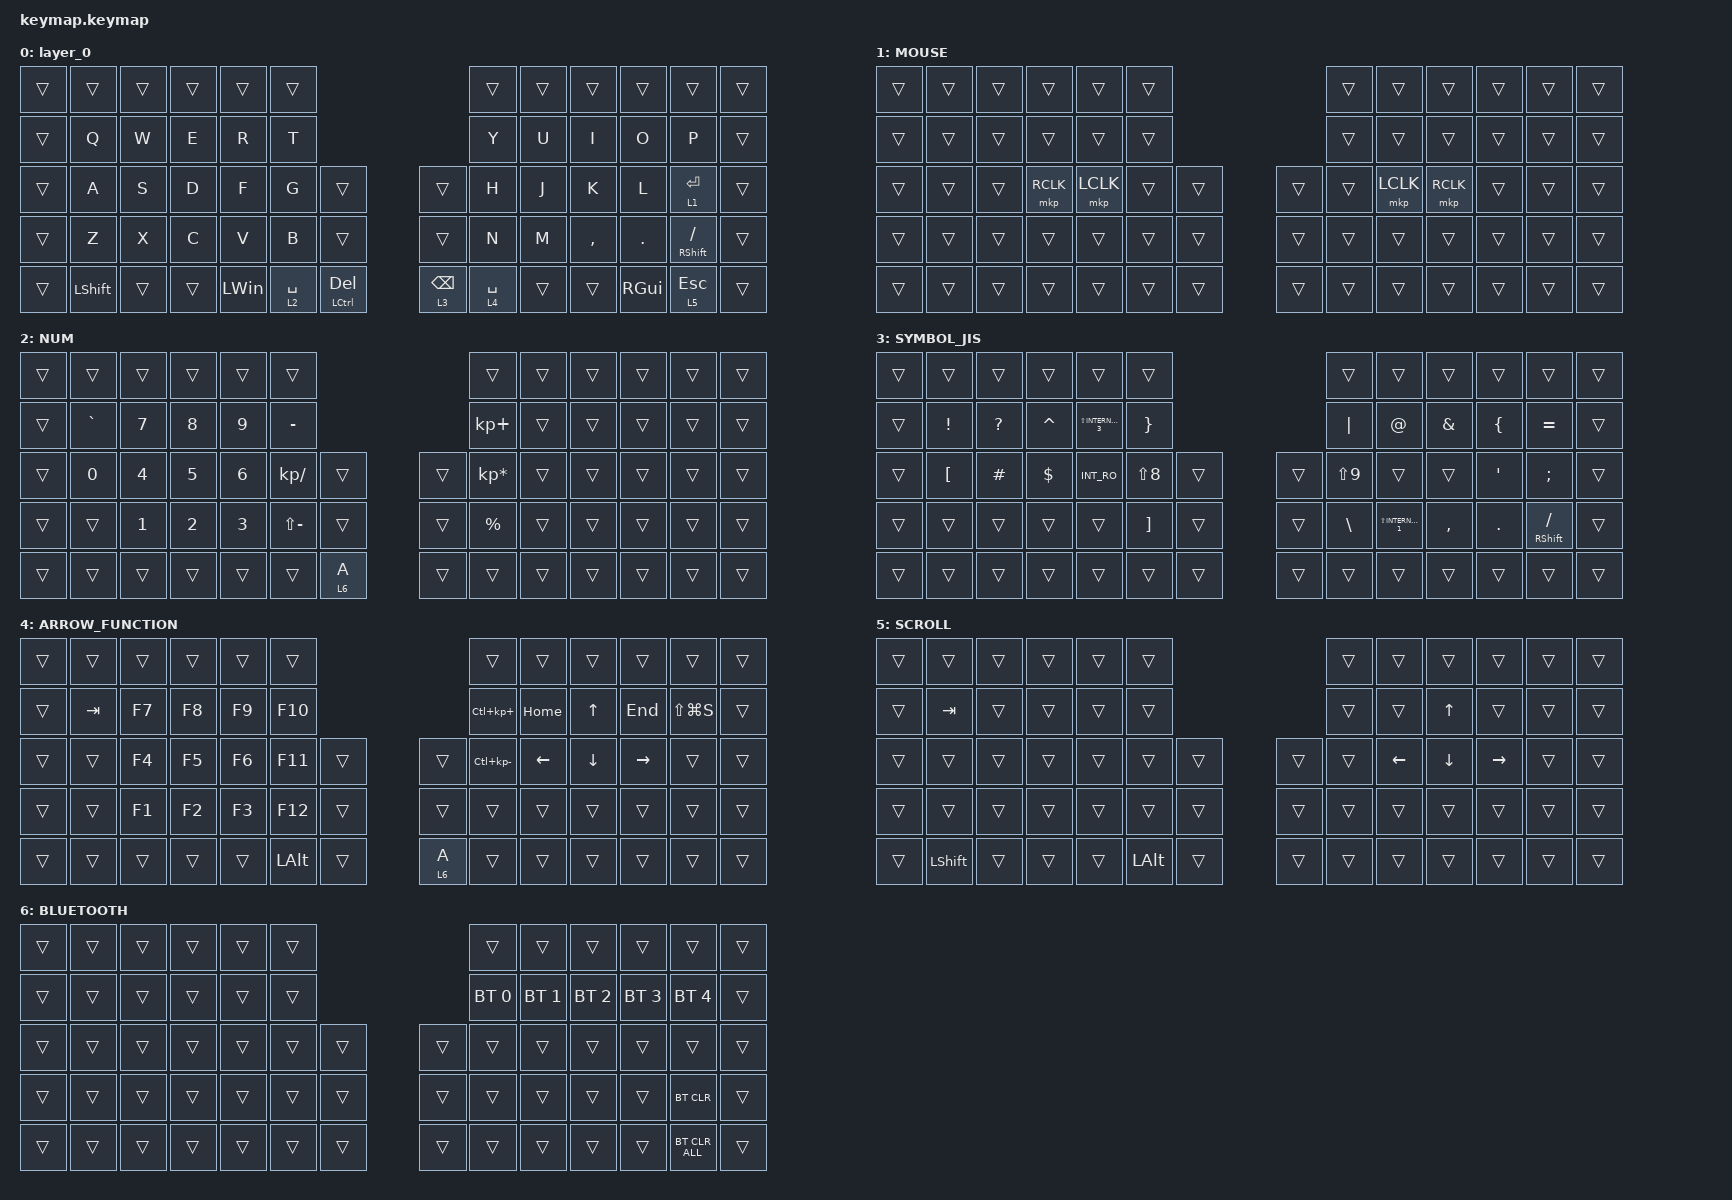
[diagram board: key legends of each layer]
#include <dt-bindings/zmk/input_transform.h>  /* ← これを忘れずに追加！ */
#include <input/processors.dtsi>
#include <zephyr/dt-bindings/input/input-event-codes.h>
#include <behaviors.dtsi>
#include <dt-bindings/zmk/bt.h>
#include <dt-bindings/zmk/keys.h>
#include <dt-bindings/zmk/pointing.h>

&mt {
    quick-tap-ms = <300>;
    flavor = "balanced";
};

&lt { quick-tap-ms = <300>; };

/ {
    combos { compatible = "zmk,combos"; };

    behaviors {
        scroll_up_down: scroll_up_down {
            compatible = "zmk,behavior-sensor-rotate";
            label = "SCROLL_UP_DOWN";
            #sensor-binding-cells = <0>;
            bindings = <&msc SCRL_DOWN>, <&msc SCRL_UP>;

            tap-ms = <20>;
        };
    };

    keymap {
        compatible = "zmk,keymap";

        layer_0 {
            bindings = <
&trans  &trans          &trans  &trans  &trans        &trans                                                 &trans       &trans  &trans     &trans    &trans                &trans
&trans  &kp Q           &kp W   &kp E   &kp R         &kp T                                                  &kp Y        &kp U   &kp I      &kp O     &kp P                 &trans
&trans  &kp A           &kp S   &kp D   &kp F         &kp G        &trans                   &trans           &kp H        &kp J   &kp K      &kp L     &lt 1 ENTER           &trans
&trans  &kp Z           &kp X   &kp C   &kp V         &kp B        &trans                   &trans           &kp N        &kp M   &kp COMMA  &kp DOT   &mt RIGHT_SHIFT FSLH  &trans
&trans  &kp LEFT_SHIFT  &trans  &trans  &kp LEFT_WIN  &lt 2 SPACE  &mt LEFT_CONTROL DELETE  &lt 3 BACKSPACE  &lt 4 SPACE  &trans  &trans     &kp RGUI  &lt 5 ESCAPE          &trans
            >;
        };

        MOUSE {
            bindings = <
&trans  &trans  &trans  &trans     &trans     &trans                  &trans  &trans     &trans     &trans  &trans  &trans
&trans  &trans  &trans  &trans     &trans     &trans                  &trans  &trans     &trans     &trans  &trans  &trans
&trans  &trans  &trans  &mkp RCLK  &mkp LCLK  &trans  &trans  &trans  &trans  &mkp LCLK  &mkp RCLK  &trans  &trans  &trans
&trans  &trans  &trans  &trans     &trans     &trans  &trans  &trans  &trans  &trans     &trans     &trans  &trans  &trans
&trans  &trans  &trans  &trans     &trans     &trans  &trans  &trans  &trans  &trans     &trans     &trans  &trans  &trans
            >;
        };

        NUM {
            bindings = <
&trans  &trans     &trans  &trans  &trans  &trans                          &trans           &trans  &trans  &trans  &trans  &trans
&trans  &kp GRAVE  &kp N7  &kp N8  &kp N9  &kp MINUS                       &kp KP_PLUS      &trans  &trans  &trans  &trans  &trans
&trans  &kp N0     &kp N4  &kp N5  &kp N6  &kp KP_SLASH   &trans   &trans  &kp KP_MULTIPLY  &trans  &trans  &trans  &trans  &trans
&trans  &trans     &kp N1  &kp N2  &kp N3  &kp LS(MINUS)  &trans   &trans  &kp PERCENT      &trans  &trans  &trans  &trans  &trans
&trans  &trans     &trans  &trans  &trans  &trans         &lt 6 A  &trans  &trans           &trans  &trans  &trans  &trans  &trans
            >;
        };

        SYMBOL_JIS {
            bindings = <
&trans  &trans            &trans        &trans      &trans                   &trans                             &trans         &trans                   &trans         &trans            &trans                 &trans
&trans  &kp EXCLAMATION   &kp QUESTION  &kp CARET   &kp LS(INTERNATIONAL_3)  &kp RIGHT_BRACE                    &kp PIPE       &kp AT_SIGN              &kp AMPERSAND  &kp LEFT_BRACE    &kp EQUAL              &trans
&trans  &kp LEFT_BRACKET  &kp HASH      &kp DOLLAR  &kp INT_RO               &kp LS(N8)         &trans  &trans  &kp LS(N9)     &trans                   &trans         &kp SINGLE_QUOTE  &kp SEMICOLON          &trans
&trans  &trans            &trans        &trans      &trans                   &kp RIGHT_BRACKET  &trans  &trans  &kp BACKSLASH  &kp LS(INTERNATIONAL_1)  &kp COMMA      &kp PERIOD        &mt RIGHT_SHIFT SLASH  &trans
&trans  &trans            &trans        &trans      &trans                   &trans             &trans  &trans  &trans         &trans                   &trans         &trans            &trans                 &trans
            >;
        };

        ARROW_FUNCTION {
            bindings = <
&trans  &trans   &trans  &trans  &trans  &trans                         &trans            &trans          &trans          &trans           &trans         &trans
&trans  &kp TAB  &kp F7  &kp F8  &kp F9  &kp F10                        &kp LC(KP_PLUS)   &kp HOME        &kp UP_ARROW    &kp END          &kp LS(LG(S))  &trans
&trans  &trans   &kp F4  &kp F5  &kp F6  &kp F11       &trans  &trans   &kp LC(KP_MINUS)  &kp LEFT_ARROW  &kp DOWN_ARROW  &kp RIGHT_ARROW  &trans         &trans
&trans  &trans   &kp F1  &kp F2  &kp F3  &kp F12       &trans  &trans   &trans            &trans          &trans          &trans           &trans         &trans
&trans  &trans   &trans  &trans  &trans  &kp LEFT_ALT  &trans  &lt 6 A  &trans            &trans          &trans          &trans           &trans         &trans
            >;
        };

        SCROLL {
            bindings = <
&trans  &trans          &trans  &trans  &trans  &trans                        &trans  &trans          &trans          &trans           &trans  &trans
&trans  &kp TAB         &trans  &trans  &trans  &trans                        &trans  &trans          &kp UP_ARROW    &trans           &trans  &trans
&trans  &trans          &trans  &trans  &trans  &trans        &trans  &trans  &trans  &kp LEFT_ARROW  &kp DOWN_ARROW  &kp RIGHT_ARROW  &trans  &trans
&trans  &trans          &trans  &trans  &trans  &trans        &trans  &trans  &trans  &trans          &trans          &trans           &trans  &trans
&trans  &kp LEFT_SHIFT  &trans  &trans  &trans  &kp LEFT_ALT  &trans  &trans  &trans  &trans          &trans          &trans           &trans  &trans
            >;
        };

        BLUETOOTH {
            bindings = <
&trans  &trans  &trans  &trans  &trans  &trans                  &trans        &trans        &trans        &trans        &trans          &trans
&trans  &trans  &trans  &trans  &trans  &trans                  &bt BT_SEL 0  &bt BT_SEL 1  &bt BT_SEL 2  &bt BT_SEL 3  &bt BT_SEL 4    &trans
&trans  &trans  &trans  &trans  &trans  &trans  &trans  &trans  &trans        &trans        &trans        &trans        &trans          &trans
&trans  &trans  &trans  &trans  &trans  &trans  &trans  &trans  &trans        &trans        &trans        &trans        &bt BT_CLR      &trans
&trans  &trans  &trans  &trans  &trans  &trans  &trans  &trans  &trans        &trans        &trans        &trans        &bt BT_CLR_ALL  &trans
            >;
        };
    };
};

/* --- ファイル末尾 --- */

/ {
    input_processors {
        zip_scroll_x_scaler: zip_scroll_x_scaler {
            compatible = "zmk,input-processor-scaler";
            #input-processor-cells = <2>;
            type = <INPUT_EV_REL>;
            codes = <INPUT_REL_HWHEEL>;
            track-remainders;
        };
    };
};

&{/pointing_listener} {
    /* 2. 通常のカーソル移動（全レイヤー共通）にスケーラーを適用 */
    /*input-processors = <&zip_xy_scaler 1 2>;*/

    input-processors = <
        &zip_xy_transform INPUT_TRANSFORM_X_INVERT
        &zip_xy_transform INPUT_TRANSFORM_Y_INVERT
        &zip_xy_scaler 2 3
    >;

    /* 既存の（反転などを防ぐ）設定を維持したまま、スクロール設定だけを「追加」します */

    scroller {
        layers = <5>;
        input-processors = <
            &zip_xy_to_scroll_mapper
            &zip_scroll_transform INPUT_TRANSFORM_X_INVERT
            &zip_scroll_x_scaler 1 5
            &zip_scroll_scaler 1 5
        >;
    };
};
